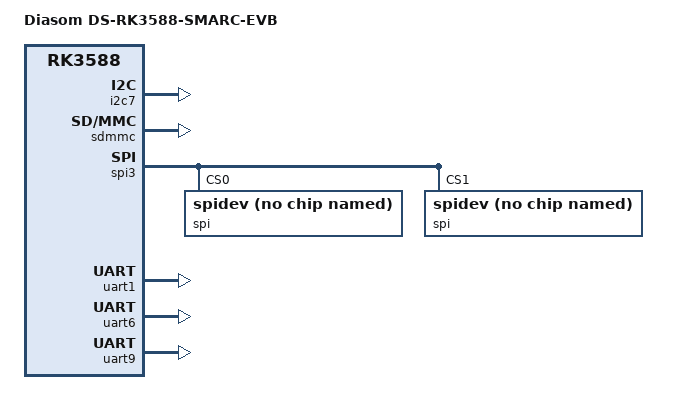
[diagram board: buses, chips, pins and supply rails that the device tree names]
/* SPDX-License-Identifier: GPL-2.0+ */
/* SPDX-FileCopyrightText: Alexander Shiyan <shc_work@mail.ru> */

/dts-v1/;

#include "rk3588-diasom-smarc.dtsi"

/ {
	model = "Diasom DS-RK3588-SMARC-EVB";
	compatible = "diasom,ds-rk3588-smarc-evb",
		     "diasom,ds-rk3588-smarc",
		     "rockchip,rk3588";

	aliases {
		mmc1 = &sdmmc;
	};

	chosen {
		environment-sd {
			compatible = "barebox,environment";
			device-path = &sdmmc, "partname:env";
			status = "disabled";
		};
	};
};

&i2c5 {
	/* I2C_GP */
};

&i2c7 {
	/* I2C_PM */
	status = "okay";
};

&sdmmc {
	status = "okay";
};

&sfc {
	/* SPI1 */
};

&spi3 {
	/* SPI0 */
	status = "okay";

	spi@0 {
		compatible = "rohm,dh2228fv";
		reg = <0>;
	};

	spi@1 {
		compatible = "rohm,dh2228fv";
		reg = <1>;
	};
};

&uart1 {
	/* SER3 */
	status = "okay";
};

&uart2 {
	/* SER1 */
};

&uart6 {
	/* SER0 */
	status = "okay";
};

&uart9 {
	/* SER2 */
	status = "okay";
};
